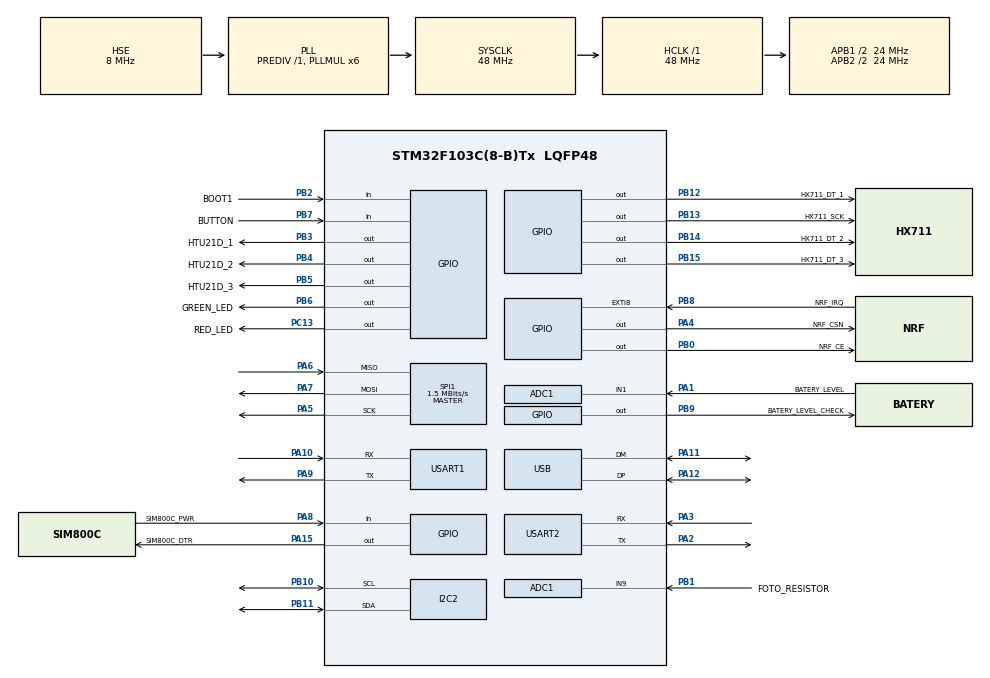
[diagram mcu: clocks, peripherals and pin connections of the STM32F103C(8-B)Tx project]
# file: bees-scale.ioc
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ADC1.Channel-0\#ChannelRegularConversion=ADC_CHANNEL_1
ADC1.ContinuousConvMode=DISABLE
ADC1.NbrOfConversion=1
ADC1.NbrOfConversionFlag=1
ADC1.Rank-0\#ChannelRegularConversion=1
ADC1.SamplingTime-0\#ChannelRegularConversion=ADC_SAMPLETIME_239CYCLES_5
ADC1.master=1
Mcu.Family=STM32F1
Mcu.Name=STM32F103C(8-B)Tx
Mcu.Package=LQFP48
NVIC.PriorityGroup=NVIC_PRIORITYGROUP_4
NVIC.SPI1_IRQn=true\:0\:0\:false\:false\:true\:true\:true\:true
NVIC.TIM2_IRQn=true\:15\:0\:false\:false\:true\:false\:true\:true
NVIC.TimeBase=TIM2_IRQn
NVIC.TimeBaseIP=TIM2
NVIC.USART1_IRQn=true\:0\:0\:true\:false\:true\:true\:true\:true
NVIC.USART2_IRQn=true\:0\:0\:true\:false\:true\:true\:true\:true
NVIC.USB_LP_CAN1_RX0_IRQn=true\:0\:0\:false\:false\:true\:false\:true\:true
PA0-WKUP.Mode=SYS_WakeUp0
PA0-WKUP.Signal=SYS_WKUP
PA1.GPIO_Label=BATERY_LEVEL
PA1.Signal=ADCx_IN1
PA10.Mode=Asynchronous
PA10.Signal=USART1_RX
PA11.Mode=Device
PA11.Signal=USB_DM
PA12.Mode=Device
PA12.Signal=USB_DP
PA13.Mode=Serial_Wire
PA13.Signal=SYS_JTMS-SWDIO
PA14.Mode=Serial_Wire
PA14.Signal=SYS_JTCK-SWCLK
PA15.GPIO_Label=SIM800C_DTR
PA15.Signal=GPIO_Output
PA2.Mode=Asynchronous
PA2.Signal=USART2_TX
PA3.Mode=Asynchronous
PA3.Signal=USART2_RX
PA4.GPIO_Label=NRF_CSN
PA4.GPIO_Speed=GPIO_SPEED_FREQ_HIGH
PA4.Signal=GPIO_Output
PA5.Mode=Full_Duplex_Master
PA5.Signal=SPI1_SCK
PA6.Mode=Full_Duplex_Master
PA6.Signal=SPI1_MISO
PA7.Mode=Full_Duplex_Master
PA7.Signal=SPI1_MOSI
PA8.GPIO_Label=SIM800C_PWR
PA8.Signal=GPIO_Input
PA9.Mode=Asynchronous
PA9.Signal=USART1_TX
PB0.GPIO_Label=NRF_CE
PB0.GPIO_Speed=GPIO_SPEED_FREQ_HIGH
PB0.PinState=GPIO_PIN_SET
PB0.Signal=GPIO_Output
PB1.GPIO_Label=FOTO_RESISTOR
PB1.Signal=SharedAnalog_PB1
PB10.Mode=I2C
PB10.Signal=I2C2_SCL
PB11.Mode=I2C
PB11.Signal=I2C2_SDA
PB12.GPIO_Label=HX711_DT_1
PB12.GPIO_Speed=GPIO_SPEED_FREQ_HIGH
PB12.PinState=GPIO_PIN_RESET
PB12.Signal=GPIO_Output
PB13.GPIO_Label=HX711_SCK
PB13.GPIO_Speed=GPIO_SPEED_FREQ_HIGH
PB13.PinState=GPIO_PIN_SET
PB13.Signal=GPIO_Output
PB14.GPIO_Label=HX711_DT_2
PB14.GPIO_Speed=GPIO_SPEED_FREQ_HIGH
PB14.Signal=GPIO_Output
PB15.GPIO_Label=HX711_DT_3
PB15.GPIO_PuPd=GPIO_NOPULL
PB15.GPIO_Speed=GPIO_SPEED_FREQ_HIGH
PB15.PinState=GPIO_PIN_RESET
PB15.Signal=GPIO_Output
PB2.GPIO_Label=BOOT1
PB2.GPIO_PuPd=GPIO_PULLDOWN
PB2.Signal=GPIO_Input
PB3.GPIO_Label=HTU21D_1
PB3.Signal=GPIO_Output
PB4.GPIO_Label=HTU21D_2
PB4.Signal=GPIO_Output
PB5.GPIO_Label=HTU21D_3
PB5.Signal=GPIO_Output
PB6.GPIO_Label=GREEN_LED
PB6.Signal=GPIO_Output
PB7.GPIO_Label=BUTTON
PB7.GPIO_PuPd=GPIO_PULLDOWN
PB7.Signal=GPIO_Input
PB8.GPIO_Label=NRF_IRQ
PB8.GPIO_ModeDefaultEXTI=GPIO_MODE_IT_FALLING
PB8.Signal=GPXTI8
PB9.GPIO_Label=BATERY_LEVEL_CHECK
PB9.PinState=GPIO_PIN_SET
PB9.Signal=GPIO_Output
PC13-TAMPER-RTC.GPIO_Label=RED_LED
PC13-TAMPER-RTC.GPIO_ModeDefaultOutputPP=GPIO_MODE_OUTPUT_PP
PC13-TAMPER-RTC.GPIO_PuPd=GPIO_NOPULL
PC13-TAMPER-RTC.PinState=GPIO_PIN_RESET
PC13-TAMPER-RTC.Signal=GPIO_Output
PC14-OSC32_IN.Mode=LSE-External-Oscillator
PC14-OSC32_IN.Signal=RCC_OSC32_IN
PC15-OSC32_OUT.Mode=LSE-External-Oscillator
PC15-OSC32_OUT.Signal=RCC_OSC32_OUT
PD0-OSC_IN.Mode=HSE-External-Oscillator
PD0-OSC_IN.Signal=RCC_OSC_IN
PD1-OSC_OUT.Mode=HSE-External-Oscillator
PD1-OSC_OUT.Signal=RCC_OSC_OUT
ProjectManager.HeapSize=0x200
ProjectManager.StackSize=0x400
ProjectManager.TargetToolchain=STM32CubeIDE
RCC.ADCPresc=RCC_ADCPCLK2_DIV6
RCC.AHBFreq_Value=48000000
RCC.APB1CLKDivider=RCC_HCLK_DIV2
RCC.APB1Freq_Value=24000000
RCC.APB1TimFreq_Value=48000000
RCC.APB2CLKDivider=RCC_HCLK_DIV2
RCC.APB2Freq_Value=24000000
RCC.APB2TimFreq_Value=48000000
RCC.HCLKFreq_Value=48000000
RCC.PLLMUL=RCC_PLL_MUL6
RCC.PLLSourceVirtual=RCC_PLLSOURCE_HSE
RCC.SYSCLKFreq_VALUE=48000000
RCC.SYSCLKSource=RCC_SYSCLKSOURCE_PLLCLK
RCC.USBFreq_Value=48000000
RTC.OutPut=RTC_OUTPUTSOURCE_NONE
SH.ADCx_IN1.0=ADC1_IN1,IN1
SH.SharedAnalog_PB1.0=GPIO_Analog
SH.SharedAnalog_PB1.1=ADC1_IN9,IN9
SPI1.BaudRatePrescaler=SPI_BAUDRATEPRESCALER_16
SPI1.CRCCalculation=SPI_CRCCALCULATION_DISABLE
SPI1.CalculateBaudRate=1.5 MBits/s
SPI1.Direction=SPI_DIRECTION_2LINES
SPI1.Mode=SPI_MODE_MASTER
SPI1.VirtualType=VM_MASTER
TIM1.Prescaler=48-1
USART1.VirtualMode=VM_ASYNC
USART2.VirtualMode=VM_ASYNC
USB_DEVICE.CLASS_NAME_FS=CDC
USB_DEVICE.VirtualMode=Cdc
USB_DEVICE.VirtualModeFS=Cdc_FS
VP_ADC1_TempSens_Input.Mode=IN-TempSens
VP_RTC_No_RTC_Output.Mode=RTC_OUT_NO
VP_RTC_VS_RTC_Activate.Mode=RTC_Enabled
VP_RTC_VS_RTC_Calendar.Mode=RTC_Calendar
VP_SYS_VS_tim2.Mode=TIM2
VP_TIM1_VS_ClockSourceINT.Mode=Internal
VP_USB_DEVICE_VS_USB_DEVICE_CDC_FS.Mode=CDC_FS
board=custom

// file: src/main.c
/* USER CODE BEGIN Header */
/**
  ******************************************************************************
  * @file           : main.c
  * @brief          : Main program body
  ******************************************************************************
  * @attention
  *
  * Copyright (c) 2023 STMicroelectronics.
  * All rights reserved.
  *
  * This software is licensed under terms that can be found in the LICENSE file
  * in the root directory of this software component.
  * If no LICENSE file comes with this software, it is provided AS-IS.
  *
  ******************************************************************************
  */
/* USER CODE END Header */
#include "main.h"
#include "adc.h"
#include "i2c.h"
#include "rtc.h"
#include "spi.h"
#include "tim.h"
#include "usart.h"
#include "usb_device.h"
#include "gpio.h"

/* USER CODE BEGIN Includes */
#include "usbd_cdc_if.h"
#include <stdio.h>
#include "alt_main.h"

/* USER CODE END Includes */

/* USER CODE BEGIN PD */
#define USB_BUFFER_SIZE 1024
/* USER CODE END PD */

/* USER CODE BEGIN PV */
uint8_t usbBuffer[USB_BUFFER_SIZE];
uint16_t usbBufferPointer;
/* USER CODE END PV */

void SystemClock_Config(void);
/* USER CODE BEGIN PFP */
#ifdef __GNUC__
  /* With GCC, small printf (option LD Linker->Libraries->Small printf
     set to 'Yes') calls __io_putchar() */
  #define PUTCHAR_PROTOTYPE int __io_putchar(int ch)
#else
  #define PUTCHAR_PROTOTYPE int fputc(int ch, FILE *f)
#endif /* __GNUC__ */
/* USER CODE END PFP */

int main(void)
{

  /* MCU Configuration--------------------------------------------------------*/

  /* Reset of all peripherals, Initializes the Flash interface and the Systick. */
  HAL_Init();

  /* Configure the system clock */
  SystemClock_Config();

  /* Initialize all configured peripherals */
  MX_GPIO_Init();
  MX_USART1_UART_Init();
  MX_SPI1_Init();
  MX_ADC1_Init();
  MX_I2C2_Init();
  MX_RTC_Init();
  MX_USART2_UART_Init();
  MX_USB_DEVICE_Init();
  MX_TIM1_Init();
  /* USER CODE BEGIN 2 */
  alt_main();

  /* USER CODE END 2 */

  /* Infinite loop */
  while (1)
  {

  }
}

void SystemClock_Config(void)
{
  RCC_OscInitTypeDef RCC_OscInitStruct = {0};
  RCC_ClkInitTypeDef RCC_ClkInitStruct = {0};
  RCC_PeriphCLKInitTypeDef PeriphClkInit = {0};

  /** Initializes the RCC Oscillators according to the specified parameters
  * in the RCC_OscInitTypeDef structure.
  */
  RCC_OscInitStruct.OscillatorType = RCC_OSCILLATORTYPE_LSI|RCC_OSCILLATORTYPE_HSE;
  RCC_OscInitStruct.HSEState = RCC_HSE_ON;
  RCC_OscInitStruct.HSEPredivValue = RCC_HSE_PREDIV_DIV1;
  RCC_OscInitStruct.HSIState = RCC_HSI_ON;
  RCC_OscInitStruct.LSIState = RCC_LSI_ON;
  RCC_OscInitStruct.PLL.PLLState = RCC_PLL_ON;
  RCC_OscInitStruct.PLL.PLLSource = RCC_PLLSOURCE_HSE;
  RCC_OscInitStruct.PLL.PLLMUL = RCC_PLL_MUL6;
  if (HAL_RCC_OscConfig(&RCC_OscInitStruct) != HAL_OK)
  {
    Error_Handler();
  }

  /** Initializes the CPU, AHB and APB buses clocks
  */
  RCC_ClkInitStruct.ClockType = RCC_CLOCKTYPE_HCLK|RCC_CLOCKTYPE_SYSCLK
                              |RCC_CLOCKTYPE_PCLK1|RCC_CLOCKTYPE_PCLK2;
  RCC_ClkInitStruct.SYSCLKSource = RCC_SYSCLKSOURCE_PLLCLK;
  RCC_ClkInitStruct.AHBCLKDivider = RCC_SYSCLK_DIV1;
  RCC_ClkInitStruct.APB1CLKDivider = RCC_HCLK_DIV2;
  RCC_ClkInitStruct.APB2CLKDivider = RCC_HCLK_DIV2;

  if (HAL_RCC_ClockConfig(&RCC_ClkInitStruct, FLASH_LATENCY_1) != HAL_OK)
  {
    Error_Handler();
  }
  PeriphClkInit.PeriphClockSelection = RCC_PERIPHCLK_RTC|RCC_PERIPHCLK_ADC
                              |RCC_PERIPHCLK_USB;
  PeriphClkInit.RTCClockSelection = RCC_RTCCLKSOURCE_LSI;
  PeriphClkInit.AdcClockSelection = RCC_ADCPCLK2_DIV6;
  PeriphClkInit.UsbClockSelection = RCC_USBCLKSOURCE_PLL;
  if (HAL_RCCEx_PeriphCLKConfig(&PeriphClkInit) != HAL_OK)
  {
    Error_Handler();
  }
}

/* USER CODE BEGIN 4 */
PUTCHAR_PROTOTYPE {
  /*
  if (ch == '\r') {
    HAL_UART_Transmit(&huart2, (uint8_t *)"$", 1, HAL_MAX_DELAY);
  } else if (ch == '\n') {
    HAL_UART_Transmit(&huart2, (uint8_t *)"@", 1, HAL_MAX_DELAY);
  } else {
    HAL_UART_Transmit(&huart2, (uint8_t *)&ch, 1, HAL_MAX_DELAY);
  }
  */
  HAL_UART_Transmit(&huart2, (uint8_t *)&ch, 1, HAL_MAX_DELAY);
  usbBuffer[usbBufferPointer++] = (uint8_t)ch;
  uint8_t sendToUSBResult = CDC_Transmit_FS(usbBuffer, usbBufferPointer);
  if (sendToUSBResult == USBD_OK) {
    usbBufferPointer = 0;
  }
  if (usbBufferPointer == USB_BUFFER_SIZE) {
    usbBufferPointer = 0;
  }
  return ch;
}

int _write(int file, char *ptr, int len)
{
	int DataIdx;
  for (DataIdx = 0; DataIdx < len; DataIdx++)
  {
      __io_putchar( *ptr++ );
  }
	return len;
}

/* USER CODE END 4 */

void HAL_TIM_PeriodElapsedCallback(TIM_HandleTypeDef *htim)
{
  if (htim->Instance == TIM2) {
    HAL_IncTick();
  }
}

void Error_Handler(void)
{
  /* USER CODE BEGIN Error_Handler_Debug */
  /* User can add his own implementation to report the HAL error return state */
  __disable_irq();

  //HAL_GPIO_WritePin(LED_GREEN_GPIO_Port, LED_GREEN_Pin, GPIO_PIN_RESET);

  while (1)
  {
  }
  /* USER CODE END Error_Handler_Debug */
}
